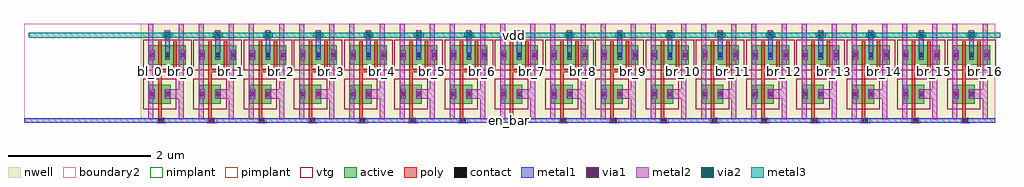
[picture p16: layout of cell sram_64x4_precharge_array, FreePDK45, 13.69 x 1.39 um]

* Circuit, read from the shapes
.subckt sram_64x4_precharge_array bl_0 bl_1 bl_10 bl_11 bl_12 bl_13 bl_14 bl_15 bl_16 bl_2 bl_3 bl_4 bl_5 bl_6 bl_7 bl_8 bl_9 br_0 br_1 br_10 br_11 br_12 br_13 br_14 br_15 br_16 br_2 br_3 br_4 br_5 br_6 br_7 br_8 br_9 en_bar vdd
M1 br_0 en_bar bl_0 vdd pfet w=0.27u l=0.05u
M2 vdd en_bar bl_0 vdd pfet w=0.27u l=0.05u
M3 br_0 en_bar vdd vdd pfet w=0.27u l=0.05u
M4 br_1 en_bar bl_1 vdd pfet w=0.27u l=0.05u
M5 vdd en_bar bl_1 vdd pfet w=0.27u l=0.05u
M6 br_1 en_bar vdd vdd pfet w=0.27u l=0.05u
M7 br_2 en_bar bl_2 vdd pfet w=0.27u l=0.05u
M8 vdd en_bar bl_2 vdd pfet w=0.27u l=0.05u
M9 br_2 en_bar vdd vdd pfet w=0.27u l=0.05u
M10 br_3 en_bar bl_3 vdd pfet w=0.27u l=0.05u
M11 vdd en_bar bl_3 vdd pfet w=0.27u l=0.05u
M12 br_3 en_bar vdd vdd pfet w=0.27u l=0.05u
M13 br_4 en_bar bl_4 vdd pfet w=0.27u l=0.05u
M14 vdd en_bar bl_4 vdd pfet w=0.27u l=0.05u
M15 br_4 en_bar vdd vdd pfet w=0.27u l=0.05u
M16 br_5 en_bar bl_5 vdd pfet w=0.27u l=0.05u
M17 vdd en_bar bl_5 vdd pfet w=0.27u l=0.05u
M18 br_5 en_bar vdd vdd pfet w=0.27u l=0.05u
M19 br_6 en_bar bl_6 vdd pfet w=0.27u l=0.05u
M20 vdd en_bar bl_6 vdd pfet w=0.27u l=0.05u
M21 br_6 en_bar vdd vdd pfet w=0.27u l=0.05u
M22 br_7 en_bar bl_7 vdd pfet w=0.27u l=0.05u
M23 vdd en_bar bl_7 vdd pfet w=0.27u l=0.05u
M24 br_7 en_bar vdd vdd pfet w=0.27u l=0.05u
M25 br_8 en_bar bl_8 vdd pfet w=0.27u l=0.05u
M26 vdd en_bar bl_8 vdd pfet w=0.27u l=0.05u
M27 br_8 en_bar vdd vdd pfet w=0.27u l=0.05u
M28 br_9 en_bar bl_9 vdd pfet w=0.27u l=0.05u
M29 vdd en_bar bl_9 vdd pfet w=0.27u l=0.05u
M30 br_9 en_bar vdd vdd pfet w=0.27u l=0.05u
M31 br_10 en_bar bl_10 vdd pfet w=0.27u l=0.05u
M32 vdd en_bar bl_10 vdd pfet w=0.27u l=0.05u
M33 br_10 en_bar vdd vdd pfet w=0.27u l=0.05u
M34 br_11 en_bar bl_11 vdd pfet w=0.27u l=0.05u
M35 vdd en_bar bl_11 vdd pfet w=0.27u l=0.05u
M36 br_11 en_bar vdd vdd pfet w=0.27u l=0.05u
M37 br_12 en_bar bl_12 vdd pfet w=0.27u l=0.05u
M38 vdd en_bar bl_12 vdd pfet w=0.27u l=0.05u
M39 br_12 en_bar vdd vdd pfet w=0.27u l=0.05u
M40 br_13 en_bar bl_13 vdd pfet w=0.27u l=0.05u
M41 vdd en_bar bl_13 vdd pfet w=0.27u l=0.05u
M42 br_13 en_bar vdd vdd pfet w=0.27u l=0.05u
M43 br_14 en_bar bl_14 vdd pfet w=0.27u l=0.05u
M44 vdd en_bar bl_14 vdd pfet w=0.27u l=0.05u
M45 br_14 en_bar vdd vdd pfet w=0.27u l=0.05u
M46 br_15 en_bar bl_15 vdd pfet w=0.27u l=0.05u
M47 vdd en_bar bl_15 vdd pfet w=0.27u l=0.05u
M48 br_15 en_bar vdd vdd pfet w=0.27u l=0.05u
M49 br_16 en_bar bl_16 vdd pfet w=0.27u l=0.05u
M50 vdd en_bar bl_16 vdd pfet w=0.27u l=0.05u
M51 br_16 en_bar vdd vdd pfet w=0.27u l=0.05u
.ends

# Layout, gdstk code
import gdstk
lib = gdstk.Library(unit=1e-6, precision=5e-10)
def R(c, l, rs):  # rectangles x0, y0, x1, y1
    for r in rs: c.add(gdstk.rectangle(r[:2], r[2:], *l))
active = (1, 0)
nwell = (3, 0)
nimplant = (4, 0)
pimplant = (5, 0)
vtg = (6, 0)
poly = (9, 0)
contact = (10, 0)
metal1 = (11, 0)
via1 = (12, 0)
metal2 = (13, 0)
via2 = (14, 0)
metal3 = (15, 0)
boundary2 = (239, 0)

sram_64x4_contact_11 = lib.new_cell('sram_64x4_contact_11')
R(sram_64x4_contact_11, active, [(0,0.0225,0.09,0.1125)])
R(sram_64x4_contact_11, nwell, [(-0.055,-0.0325,0.145,0.1675)])
R(sram_64x4_contact_11, pimplant, [(0,0.0225,0.09,0.1125)])
R(sram_64x4_contact_11, contact, [(0.0125,0.035,0.0775,0.1)])
R(sram_64x4_contact_11, metal1, [(0.0125,0,0.0775,0.135)])
R(sram_64x4_contact_11, boundary2, [(-0.055,-0.0325,0.145,0.1675)])

sram_64x4_pmos_m1_w0_270 = lib.new_cell('sram_64x4_pmos_m1_w0_270_sm1_dm1')
R(sram_64x4_pmos_m1_w0_270, active, [(0,0,0.305,0.27)])
R(sram_64x4_pmos_m1_w0_270, nwell, [(-0.08,-0.08,0.385,0.35)])
R(sram_64x4_pmos_m1_w0_270, pimplant, [(0,0,0.305,0.27)])
R(sram_64x4_pmos_m1_w0_270, vtg, [(-0.08,-0.08,0.385,0.35)])
R(sram_64x4_pmos_m1_w0_270, poly, [(0.1275,-0.055,0.1775,0.325), (0.1275,-0.055,0.1775,0.325)])
R(sram_64x4_pmos_m1_w0_270, metal1, [(0.0125,0.0675,0.0775,0.2025), (0.2275,0.0675,0.2925,0.2025)])
R(sram_64x4_pmos_m1_w0_270, boundary2, [(-0.08,-0.08,0.385,0.35)])
sram_64x4_pmos_m1_w0_270.add(gdstk.Reference(sram_64x4_contact_11, (0,0.0675)))
sram_64x4_pmos_m1_w0_270.add(gdstk.Reference(sram_64x4_contact_11, (0.215,0.0675)))
sram_64x4_pmos_m1_w0_270.add(gdstk.Label('G', (0.1525,0.135), layer=9, texttype=0))
sram_64x4_pmos_m1_w0_270.add(gdstk.Label('S', (0.045,0.135), layer=11, texttype=0))
sram_64x4_pmos_m1_w0_270.add(gdstk.Label('D', (0.26,0.135), layer=11, texttype=0))

sram_64x4_contact_14 = lib.new_cell('sram_64x4_contact_14')
R(sram_64x4_contact_14, poly, [(0.03,0,0.105,0.075)])
R(sram_64x4_contact_14, contact, [(0.035,0.005,0.1,0.07)])
R(sram_64x4_contact_14, metal1, [(0,0.005,0.135,0.07)])
R(sram_64x4_contact_14, boundary2, [(0,0,0.135,0.075)])

sram_64x4_contact_22 = lib.new_cell('sram_64x4_contact_22')
R(sram_64x4_contact_22, active, [(0.0225,0,0.1125,0.09)])
R(sram_64x4_contact_22, nwell, [(-0.0325,-0.055,0.1675,0.145)])
R(sram_64x4_contact_22, nimplant, [(0.0225,0,0.1125,0.09)])
R(sram_64x4_contact_22, contact, [(0.035,0.0125,0.1,0.0775)])
R(sram_64x4_contact_22, metal1, [(0,0.0125,0.135,0.0775)])
R(sram_64x4_contact_22, boundary2, [(-0.0325,-0.055,0.1675,0.145)])

sram_64x4_contact_17 = lib.new_cell('sram_64x4_contact_17')
R(sram_64x4_contact_17, metal1, [(0,0.035,0.135,0.1)])
R(sram_64x4_contact_17, via1, [(0.035,0.035,0.1,0.1)])
R(sram_64x4_contact_17, metal2, [(0.0325,0,0.1025,0.135)])
R(sram_64x4_contact_17, boundary2, [(0,0,0.135,0.135)])

sram_64x4_contact_23 = lib.new_cell('sram_64x4_contact_23')
R(sram_64x4_contact_23, metal1, [(0.0025,0,0.0675,0.135)])
R(sram_64x4_contact_23, via1, [(0.0025,0.035,0.0675,0.1)])
R(sram_64x4_contact_23, metal2, [(0,0,0.07,0.135)])
R(sram_64x4_contact_23, boundary2, [(0,0,0.07,0.135)])

sram_64x4_precharge_0 = lib.new_cell('sram_64x4_precharge_0')
R(sram_64x4_precharge_0, nwell, [(0,0,0.705,1.34)])
R(sram_64x4_precharge_0, poly, [(0.24,-0.0375,0.29,0.0125), (0.265,-0.0375,0.29,0.0125), (0.24,-0.0125,0.29,0.165), (0.24,0.545,0.29,0.715), (0.24,0.665,0.505,0.715)])
R(sram_64x4_precharge_0, metal1, [(0,-0.045,0.705,0.02), (0.34,0.905,0.405,1.185), (0.34,1.1525,0.405,1.2175)])
R(sram_64x4_precharge_0, metal2, [(0.105,0,0.175,1.34), (0.105,0,0.175,1.34), (0.53,0,0.6,1.34), (0.53,0,0.6,1.34), (0.14,0.2875,0.1575,0.4225), (0.3725,0.2875,0.565,0.4225), (0.14,0.8375,0.1575,0.9725), (0.565,0.8375,0.5875,0.9725)])
R(sram_64x4_precharge_0, boundary2, [(0,0,0.705,1.34)])
sram_64x4_precharge_0.add(gdstk.Reference(sram_64x4_pmos_m1_w0_270, (0.1125,0.22)))
sram_64x4_precharge_0.add(gdstk.Reference(sram_64x4_pmos_m1_w0_270, (0.1125,0.77)))
sram_64x4_precharge_0.add(gdstk.Reference(sram_64x4_pmos_m1_w0_270, (0.3275,0.77)))
sram_64x4_precharge_0.add(gdstk.Reference(sram_64x4_contact_14, (0.2225,-0.05)))
sram_64x4_precharge_0.add(gdstk.Reference(sram_64x4_contact_22, (0.305,1.14)))
sram_64x4_precharge_0.add(gdstk.Reference(sram_64x4_contact_17, (0.305,1.1175)))
sram_64x4_precharge_0.add(gdstk.Reference(sram_64x4_contact_23, (0.1225,0.2875)))
sram_64x4_precharge_0.add(gdstk.Reference(sram_64x4_contact_23, (0.3375,0.2875)))
sram_64x4_precharge_0.add(gdstk.Reference(sram_64x4_contact_23, (0.1225,0.8375)))
sram_64x4_precharge_0.add(gdstk.Reference(sram_64x4_contact_23, (0.5525,0.8375)))
sram_64x4_precharge_0.add(gdstk.Label('en_bar', (0.3525,-0.0125), layer=11, texttype=0))
sram_64x4_precharge_0.add(gdstk.Label('vdd', (0.3725,1.185), layer=11, texttype=0))
sram_64x4_precharge_0.add(gdstk.Label('bl', (0.14,0.67), layer=13, texttype=0))
sram_64x4_precharge_0.add(gdstk.Label('br', (0.565,0.67), layer=13, texttype=0))

sram_64x4_contact_18 = lib.new_cell('sram_64x4_contact_18')
R(sram_64x4_contact_18, metal2, [(0.0325,0,0.1025,0.135)])
R(sram_64x4_contact_18, via2, [(0.035,0.035,0.1,0.1)])
R(sram_64x4_contact_18, metal3, [(0,0.0325,0.135,0.1025)])
R(sram_64x4_contact_18, boundary2, [(0,0,0.135,0.135)])

sram_64x4_precharge_arra = lib.new_cell('sram_64x4_precharge_array')
R(sram_64x4_precharge_arra, metal1, [(0,-0.045,13.625,0.02), (1.96,-0.045,2.025,0.02), (1.96,-0.045,2.025,0.02), (2.665,-0.045,2.73,0.02), (2.665,-0.045,2.73,0.02), (3.37,-0.045,3.435,0.02), (3.37,-0.045,3.435,0.02), (4.075,-0.045,4.14,0.02), (4.075,-0.045,4.14,0.02), (4.78,-0.045,4.845,0.02), (4.78,-0.045,4.845,0.02), (5.485,-0.045,5.55,0.02), (5.485,-0.045,5.55,0.02), (6.19,-0.045,6.255,0.02), (6.19,-0.045,6.255,0.02), (6.895,-0.045,6.96,0.02), (6.895,-0.045,6.96,0.02), (7.6,-0.045,7.665,0.02), (7.6,-0.045,7.665,0.02), (8.305,-0.045,8.37,0.02), (8.305,-0.045,8.37,0.02), (9.01,-0.045,9.075,0.02), (9.01,-0.045,9.075,0.02), (9.715,-0.045,9.78,0.02), (9.715,-0.045,9.78,0.02), (10.42,-0.045,10.485,0.02), (10.42,-0.045,10.485,0.02), (11.125,-0.045,11.19,0.02), (11.125,-0.045,11.19,0.02), (11.83,-0.045,11.895,0.02), (11.83,-0.045,11.895,0.02), (12.535,-0.045,12.6,0.02), (12.535,-0.045,12.6,0.02), (13.24,-0.045,13.305,0.02), (13.24,-0.045,13.305,0.02)])
R(sram_64x4_precharge_arra, metal2, [(1.745,0,1.815,1.34), (2.17,0,2.24,1.34), (2.45,0,2.52,1.34), (2.875,0,2.945,1.34), (3.155,0,3.225,1.34), (3.58,0,3.65,1.34), (3.86,0,3.93,1.34), (4.285,0,4.355,1.34), (4.565,0,4.635,1.34), (4.99,0,5.06,1.34), (5.27,0,5.34,1.34), (5.695,0,5.765,1.34), (5.975,0,6.045,1.34), (6.4,0,6.47,1.34), (6.68,0,6.75,1.34), (7.105,0,7.175,1.34), (7.385,0,7.455,1.34), (7.81,0,7.88,1.34), (8.09,0,8.16,1.34), (8.515,0,8.585,1.34), (8.795,0,8.865,1.34), (9.22,0,9.29,1.34), (9.5,0,9.57,1.34), (9.925,0,9.995,1.34), (10.205,0,10.275,1.34), (10.63,0,10.7,1.34), (10.91,0,10.98,1.34), (11.335,0,11.405,1.34), (11.615,0,11.685,1.34), (12.04,0,12.11,1.34), (12.32,0,12.39,1.34), (12.745,0,12.815,1.34), (13.025,0,13.095,1.34), (13.45,0,13.52,1.34)])
R(sram_64x4_precharge_arra, metal3, [(0.0675,1.15,13.6925,1.22)])
R(sram_64x4_precharge_arra, boundary2, [(0,0,13.625,1.34)])
sram_64x4_precharge_arra.add(gdstk.Reference(sram_64x4_precharge_0, (1.64,0)))
sram_64x4_precharge_arra.add(gdstk.Reference(sram_64x4_precharge_0, (2.345,0)))
sram_64x4_precharge_arra.add(gdstk.Reference(sram_64x4_precharge_0, (3.05,0)))
sram_64x4_precharge_arra.add(gdstk.Reference(sram_64x4_precharge_0, (3.755,0)))
sram_64x4_precharge_arra.add(gdstk.Reference(sram_64x4_precharge_0, (4.46,0)))
sram_64x4_precharge_arra.add(gdstk.Reference(sram_64x4_precharge_0, (5.165,0)))
sram_64x4_precharge_arra.add(gdstk.Reference(sram_64x4_precharge_0, (5.87,0)))
sram_64x4_precharge_arra.add(gdstk.Reference(sram_64x4_precharge_0, (6.575,0)))
sram_64x4_precharge_arra.add(gdstk.Reference(sram_64x4_precharge_0, (7.28,0)))
sram_64x4_precharge_arra.add(gdstk.Reference(sram_64x4_precharge_0, (7.985,0)))
sram_64x4_precharge_arra.add(gdstk.Reference(sram_64x4_precharge_0, (8.69,0)))
sram_64x4_precharge_arra.add(gdstk.Reference(sram_64x4_precharge_0, (9.395,0)))
sram_64x4_precharge_arra.add(gdstk.Reference(sram_64x4_precharge_0, (10.1,0)))
sram_64x4_precharge_arra.add(gdstk.Reference(sram_64x4_precharge_0, (10.805,0)))
sram_64x4_precharge_arra.add(gdstk.Reference(sram_64x4_precharge_0, (11.51,0)))
sram_64x4_precharge_arra.add(gdstk.Reference(sram_64x4_precharge_0, (12.215,0)))
sram_64x4_precharge_arra.add(gdstk.Reference(sram_64x4_precharge_0, (12.92,0)))
sram_64x4_precharge_arra.add(gdstk.Reference(sram_64x4_contact_17, (1.945,1.1175)))
sram_64x4_precharge_arra.add(gdstk.Reference(sram_64x4_contact_18, (1.945,1.1175)))
sram_64x4_precharge_arra.add(gdstk.Reference(sram_64x4_contact_17, (2.65,1.1175)))
sram_64x4_precharge_arra.add(gdstk.Reference(sram_64x4_contact_18, (2.65,1.1175)))
sram_64x4_precharge_arra.add(gdstk.Reference(sram_64x4_contact_17, (3.355,1.1175)))
sram_64x4_precharge_arra.add(gdstk.Reference(sram_64x4_contact_18, (3.355,1.1175)))
sram_64x4_precharge_arra.add(gdstk.Reference(sram_64x4_contact_17, (4.06,1.1175)))
sram_64x4_precharge_arra.add(gdstk.Reference(sram_64x4_contact_18, (4.06,1.1175)))
sram_64x4_precharge_arra.add(gdstk.Reference(sram_64x4_contact_17, (4.765,1.1175)))
sram_64x4_precharge_arra.add(gdstk.Reference(sram_64x4_contact_18, (4.765,1.1175)))
sram_64x4_precharge_arra.add(gdstk.Reference(sram_64x4_contact_17, (5.47,1.1175)))
sram_64x4_precharge_arra.add(gdstk.Reference(sram_64x4_contact_18, (5.47,1.1175)))
sram_64x4_precharge_arra.add(gdstk.Reference(sram_64x4_contact_17, (6.175,1.1175)))
sram_64x4_precharge_arra.add(gdstk.Reference(sram_64x4_contact_18, (6.175,1.1175)))
sram_64x4_precharge_arra.add(gdstk.Reference(sram_64x4_contact_17, (6.88,1.1175)))
sram_64x4_precharge_arra.add(gdstk.Reference(sram_64x4_contact_18, (6.88,1.1175)))
sram_64x4_precharge_arra.add(gdstk.Reference(sram_64x4_contact_17, (7.585,1.1175)))
sram_64x4_precharge_arra.add(gdstk.Reference(sram_64x4_contact_18, (7.585,1.1175)))
sram_64x4_precharge_arra.add(gdstk.Reference(sram_64x4_contact_17, (8.29,1.1175)))
sram_64x4_precharge_arra.add(gdstk.Reference(sram_64x4_contact_18, (8.29,1.1175)))
sram_64x4_precharge_arra.add(gdstk.Reference(sram_64x4_contact_17, (8.995,1.1175)))
sram_64x4_precharge_arra.add(gdstk.Reference(sram_64x4_contact_18, (8.995,1.1175)))
sram_64x4_precharge_arra.add(gdstk.Reference(sram_64x4_contact_17, (9.7,1.1175)))
sram_64x4_precharge_arra.add(gdstk.Reference(sram_64x4_contact_18, (9.7,1.1175)))
sram_64x4_precharge_arra.add(gdstk.Reference(sram_64x4_contact_17, (10.405,1.1175)))
sram_64x4_precharge_arra.add(gdstk.Reference(sram_64x4_contact_18, (10.405,1.1175)))
sram_64x4_precharge_arra.add(gdstk.Reference(sram_64x4_contact_17, (11.11,1.1175)))
sram_64x4_precharge_arra.add(gdstk.Reference(sram_64x4_contact_18, (11.11,1.1175)))
sram_64x4_precharge_arra.add(gdstk.Reference(sram_64x4_contact_17, (11.815,1.1175)))
sram_64x4_precharge_arra.add(gdstk.Reference(sram_64x4_contact_18, (11.815,1.1175)))
sram_64x4_precharge_arra.add(gdstk.Reference(sram_64x4_contact_17, (12.52,1.1175)))
sram_64x4_precharge_arra.add(gdstk.Reference(sram_64x4_contact_18, (12.52,1.1175)))
sram_64x4_precharge_arra.add(gdstk.Reference(sram_64x4_contact_17, (13.225,1.1175)))
sram_64x4_precharge_arra.add(gdstk.Reference(sram_64x4_contact_18, (13.225,1.1175)))
sram_64x4_precharge_arra.add(gdstk.Label('en_bar', (6.8125,-0.0125), layer=11, texttype=0))
sram_64x4_precharge_arra.add(gdstk.Label('bl_0', (1.78,0.67), layer=13, texttype=0))
sram_64x4_precharge_arra.add(gdstk.Label('br_0', (2.205,0.67), layer=13, texttype=0))
sram_64x4_precharge_arra.add(gdstk.Label('bl_1', (2.485,0.67), layer=13, texttype=0))
sram_64x4_precharge_arra.add(gdstk.Label('br_1', (2.91,0.67), layer=13, texttype=0))
sram_64x4_precharge_arra.add(gdstk.Label('bl_2', (3.19,0.67), layer=13, texttype=0))
sram_64x4_precharge_arra.add(gdstk.Label('br_2', (3.615,0.67), layer=13, texttype=0))
sram_64x4_precharge_arra.add(gdstk.Label('bl_3', (3.895,0.67), layer=13, texttype=0))
sram_64x4_precharge_arra.add(gdstk.Label('br_3', (4.32,0.67), layer=13, texttype=0))
sram_64x4_precharge_arra.add(gdstk.Label('bl_4', (4.6,0.67), layer=13, texttype=0))
sram_64x4_precharge_arra.add(gdstk.Label('br_4', (5.025,0.67), layer=13, texttype=0))
sram_64x4_precharge_arra.add(gdstk.Label('bl_5', (5.305,0.67), layer=13, texttype=0))
sram_64x4_precharge_arra.add(gdstk.Label('br_5', (5.73,0.67), layer=13, texttype=0))
sram_64x4_precharge_arra.add(gdstk.Label('bl_6', (6.01,0.67), layer=13, texttype=0))
sram_64x4_precharge_arra.add(gdstk.Label('br_6', (6.435,0.67), layer=13, texttype=0))
sram_64x4_precharge_arra.add(gdstk.Label('bl_7', (6.715,0.67), layer=13, texttype=0))
sram_64x4_precharge_arra.add(gdstk.Label('br_7', (7.14,0.67), layer=13, texttype=0))
sram_64x4_precharge_arra.add(gdstk.Label('bl_8', (7.42,0.67), layer=13, texttype=0))
sram_64x4_precharge_arra.add(gdstk.Label('br_8', (7.845,0.67), layer=13, texttype=0))
sram_64x4_precharge_arra.add(gdstk.Label('bl_9', (8.125,0.67), layer=13, texttype=0))
sram_64x4_precharge_arra.add(gdstk.Label('br_9', (8.55,0.67), layer=13, texttype=0))
sram_64x4_precharge_arra.add(gdstk.Label('bl_10', (8.83,0.67), layer=13, texttype=0))
sram_64x4_precharge_arra.add(gdstk.Label('br_10', (9.255,0.67), layer=13, texttype=0))
sram_64x4_precharge_arra.add(gdstk.Label('bl_11', (9.535,0.67), layer=13, texttype=0))
sram_64x4_precharge_arra.add(gdstk.Label('br_11', (9.96,0.67), layer=13, texttype=0))
sram_64x4_precharge_arra.add(gdstk.Label('bl_12', (10.24,0.67), layer=13, texttype=0))
sram_64x4_precharge_arra.add(gdstk.Label('br_12', (10.665,0.67), layer=13, texttype=0))
sram_64x4_precharge_arra.add(gdstk.Label('bl_13', (10.945,0.67), layer=13, texttype=0))
sram_64x4_precharge_arra.add(gdstk.Label('br_13', (11.37,0.67), layer=13, texttype=0))
sram_64x4_precharge_arra.add(gdstk.Label('bl_14', (11.65,0.67), layer=13, texttype=0))
sram_64x4_precharge_arra.add(gdstk.Label('br_14', (12.075,0.67), layer=13, texttype=0))
sram_64x4_precharge_arra.add(gdstk.Label('bl_15', (12.355,0.67), layer=13, texttype=0))
sram_64x4_precharge_arra.add(gdstk.Label('br_15', (12.78,0.67), layer=13, texttype=0))
sram_64x4_precharge_arra.add(gdstk.Label('bl_16', (13.06,0.67), layer=13, texttype=0))
sram_64x4_precharge_arra.add(gdstk.Label('br_16', (13.485,0.67), layer=13, texttype=0))
sram_64x4_precharge_arra.add(gdstk.Label('vdd', (6.88,1.185), layer=15, texttype=0))

lib.write_gds('sram_64x4_precharge_array.gds')
